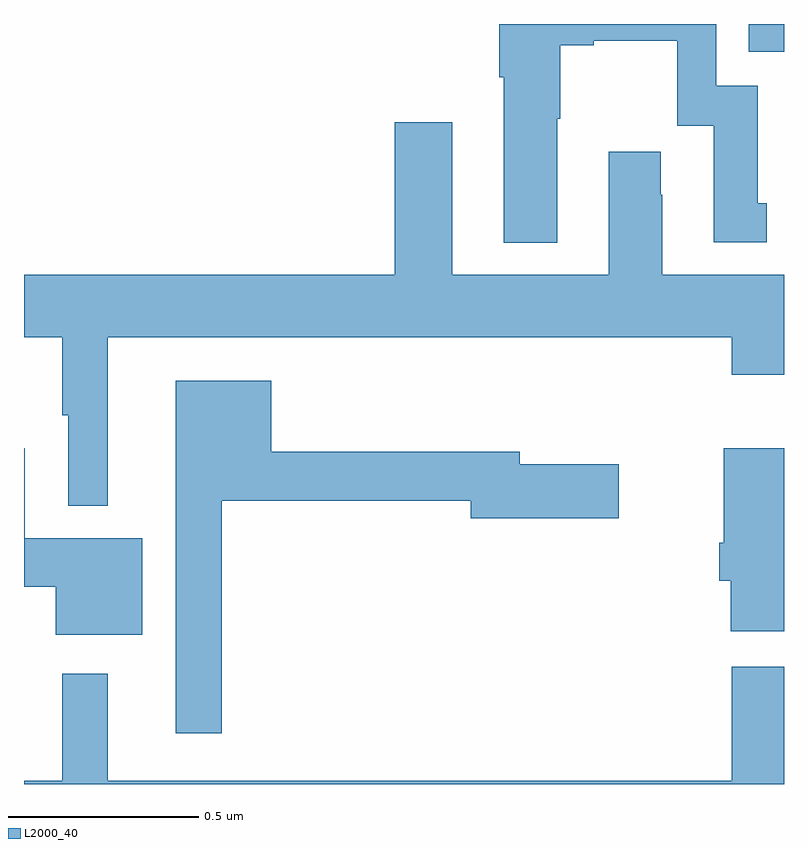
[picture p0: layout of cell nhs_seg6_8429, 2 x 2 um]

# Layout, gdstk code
import gdstk
lib = gdstk.Library(unit=1e-6, precision=1e-09)
def R(c, l, rs):  # rectangles x0, y0, x1, y1
    for r in rs: c.add(gdstk.rectangle(r[:2], r[2:], *l))
def P(c, l, *ps):  # polygons
    for p in ps: c.add(gdstk.Polygon(p, *l))
L2000_40 = (2000, 40)

nhs_seg6_8429 = lib.new_cell('nhs_seg6_8429')
R(nhs_seg6_8429, L2000_40, [(222.907,941.427,223,941.5)])
P(nhs_seg6_8429, L2000_40, [(222.403,941.251),(222.411,941.251),(222.411,941.444),(222.499,941.444),(222.499,941.456),(222.719,941.456),(222.719,941.232),(222.815,941.232),(222.815,940.926),(222.955,940.926),(222.955,941.028),(222.931,941.028),(222.931,941.337),(222.822,941.337),(222.822,941.5),(222.251,941.5),(222.251,941.36),(222.263,941.36),(222.263,940.925),(222.403,940.925)],
  [(222.863,940.577),(223,940.577),(223,940.84),(222.679,940.84),(222.679,941.051),(222.676,941.051),(222.676,941.164),(222.539,941.164),(222.539,940.84),(222.127,940.84),(222.127,941.242),(221.975,941.242),(221.975,940.84),(221,940.84),(221,940.676),(221.1,940.676),(221.1,940.471),(221.117,940.471),(221.117,940.232),(221.221,940.232),(221.221,940.676),(222.863,940.676)],
  [(221.521,940.246),(222.176,940.246),(222.176,940.199),(222.565,940.199),(222.565,940.341),(222.304,940.341),(222.304,940.375),(221.65,940.375),(221.65,940.561),(221.399,940.561),(221.399,939.633),(221.521,939.633)],
  [(221.311,940.147),(221.002,940.147),(221.002,940.384),(221,940.384),(221,940.019),(221.084,940.019),(221.084,939.893),(221.311,939.893)],
  [(223,940.384),(222.842,940.384),(222.842,940.135),(222.83,940.135),(222.83,940.035),(222.86,940.035),(222.86,939.902),(223,939.902)],
  [(223,939.808),(222.863,939.808),(222.863,939.508),(221.221,939.508),(221.221,939.79),(221.1,939.79),(221.1,939.508),(221,939.508),(221,939.5),(223,939.5)])

lib.write_gds('nhs_seg6_8429.gds')
